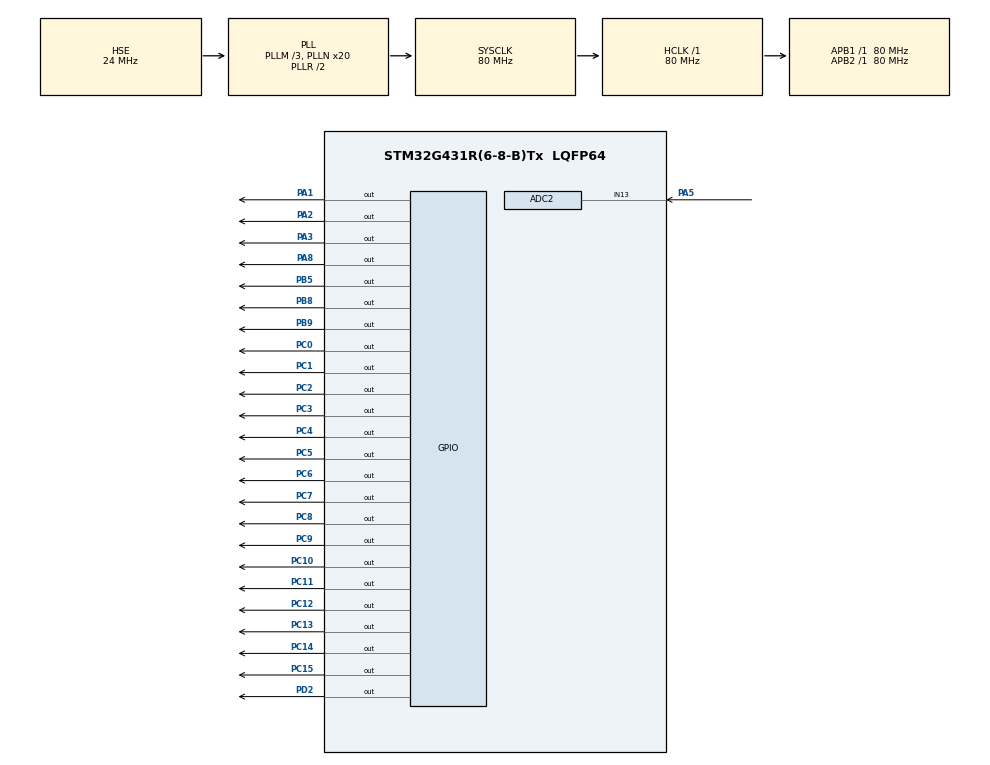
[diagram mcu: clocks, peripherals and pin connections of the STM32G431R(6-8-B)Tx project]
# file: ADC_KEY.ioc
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ADC2.Channel-0\#ChannelRegularConversion=ADC_CHANNEL_13
ADC2.ContinuousConvMode=ENABLE
ADC2.DMAContinuousRequests=ENABLE
ADC2.NbrOfConversionFlag=1
ADC2.OffsetNumber-0\#ChannelRegularConversion=ADC_OFFSET_NONE
ADC2.Rank-0\#ChannelRegularConversion=1
ADC2.SamplingTime-0\#ChannelRegularConversion=ADC_SAMPLETIME_92CYCLES_5
Dma.ADC2.0.Direction=DMA_PERIPH_TO_MEMORY
Dma.ADC2.0.EventEnable=DISABLE
Dma.ADC2.0.Instance=DMA1_Channel1
Dma.ADC2.0.MemDataAlignment=DMA_MDATAALIGN_HALFWORD
Dma.ADC2.0.MemInc=DMA_MINC_ENABLE
Dma.ADC2.0.Mode=DMA_CIRCULAR
Dma.ADC2.0.PeriphDataAlignment=DMA_PDATAALIGN_HALFWORD
Dma.ADC2.0.PeriphInc=DMA_PINC_DISABLE
Dma.ADC2.0.Polarity=HAL_DMAMUX_REQ_GEN_RISING
Dma.ADC2.0.Priority=DMA_PRIORITY_LOW
Dma.ADC2.0.RequestNumber=1
Dma.ADC2.0.SignalID=NONE
Dma.ADC2.0.SyncEnable=DISABLE
Dma.ADC2.0.SyncPolarity=HAL_DMAMUX_SYNC_NO_EVENT
Dma.ADC2.0.SyncRequestNumber=1
Dma.ADC2.0.SyncSignalID=NONE
Dma.Request0=ADC2
Mcu.Family=STM32G4
Mcu.Name=STM32G431R(6-8-B)Tx
Mcu.Package=LQFP64
NVIC.PriorityGroup=NVIC_PRIORITYGROUP_4
PA1.Signal=GPIO_Output
PA13.Mode=Serial_Wire
PA13.Signal=SYS_JTMS-SWDIO
PA14.Mode=Serial_Wire
PA14.Signal=SYS_JTCK-SWCLK
PA2.Signal=GPIO_Output
PA3.Signal=GPIO_Output
PA5.Mode=IN13-Single-Ended
PA5.Signal=ADC2_IN13
PA8.Signal=GPIO_Output
PB5.Signal=GPIO_Output
PB8-BOOT0.Signal=GPIO_Output
PB9.Signal=GPIO_Output
PC0.Signal=GPIO_Output
PC1.Signal=GPIO_Output
PC10.PinState=GPIO_PIN_SET
PC10.Signal=GPIO_Output
PC11.PinState=GPIO_PIN_SET
PC11.Signal=GPIO_Output
PC12.PinState=GPIO_PIN_SET
PC12.Signal=GPIO_Output
PC13.PinState=GPIO_PIN_SET
PC13.Signal=GPIO_Output
PC14-OSC32_IN.PinState=GPIO_PIN_SET
PC14-OSC32_IN.Signal=GPIO_Output
PC15-OSC32_OUT.PinState=GPIO_PIN_SET
PC15-OSC32_OUT.Signal=GPIO_Output
PC2.Signal=GPIO_Output
PC3.Signal=GPIO_Output
PC4.Signal=GPIO_Output
PC5.Signal=GPIO_Output
PC6.Signal=GPIO_Output
PC7.Signal=GPIO_Output
PC8.PinState=GPIO_PIN_SET
PC8.Signal=GPIO_Output
PC9.PinState=GPIO_PIN_SET
PC9.Signal=GPIO_Output
PD2.Signal=GPIO_Output
PF0-OSC_IN.Mode=HSE-External-Oscillator
PF0-OSC_IN.Signal=RCC_OSC_IN
PF1-OSC_OUT.Mode=HSE-External-Oscillator
PF1-OSC_OUT.Signal=RCC_OSC_OUT
ProjectManager.HeapSize=0x200
ProjectManager.StackSize=0x400
ProjectManager.TargetToolchain=MDK-ARM V5.32
RCC.ADC12Freq_Value=80000000
RCC.AHBFreq_Value=80000000
RCC.APB1Freq_Value=80000000
RCC.APB1TimFreq_Value=80000000
RCC.APB2Freq_Value=80000000
RCC.APB2TimFreq_Value=80000000
RCC.CortexFreq_Value=80000000
RCC.EXTERNAL_CLOCK_VALUE=12288000
RCC.HCLKFreq_Value=80000000
RCC.HSE_VALUE=24000000
RCC.HSI48_VALUE=48000000
RCC.HSI_VALUE=16000000
RCC.LSE_VALUE=32768
RCC.PLLM=RCC_PLLM_DIV3
RCC.PLLN=20
RCC.PLLSourceVirtual=RCC_PLLSOURCE_HSE
RCC.SYSCLKFreq_VALUE=80000000
RCC.SYSCLKSource=RCC_SYSCLKSOURCE_PLLCLK
RCC.USBFreq_Value=80000000
RCC.VCOOutputFreq_Value=160000000
VP_SYS_VS_DBSignals.Mode=DisableDeadBatterySignals
board=custom

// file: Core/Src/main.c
/* USER CODE BEGIN Header */
/**
  ******************************************************************************
  * @file           : main.c
  * @brief          : Main program body
  ******************************************************************************
  * @attention
  *
  * Copyright (c) 2024 STMicroelectronics.
  * All rights reserved.
  *
  * This software is licensed under terms that can be found in the LICENSE file
  * in the root directory of this software component.
  * If no LICENSE file comes with this software, it is provided AS-IS.
  *
  ******************************************************************************
  */
/* USER CODE END Header */
#include "main.h"
#include "adc.h"
#include "dma.h"
#include "gpio.h"

/* USER CODE BEGIN Includes */

#include "stdio.h"
#include "String.h"
#include "lcd.h"
#include "led.h"
#include "seg.h"
#include "myadc.h"
#include "AKey.h"

/* USER CODE END Includes */

/* USER CODE BEGIN PTD */

unsigned int adc_value;

unsigned char lcd_text[30];

__IO uint32_t uwTick_Lcd;
__IO uint32_t uwTick_Led;
__IO uint32_t uwTick_Seg;
__IO uint32_t uwTick_Adc;

unsigned char Seg_count;
unsigned char ucled=0x00;

unsigned char Akey_num;

/* USER CODE END PTD */

void SystemClock_Config(void);
/* USER CODE BEGIN PFP */

void lcd_proc(void);
void seg_proc(void);
void adc_proc(void);
void led_proc(void);

/* USER CODE END PFP */

int main(void)
{

  /* MCU Configuration--------------------------------------------------------*/

  /* Reset of all peripherals, Initializes the Flash interface and the Systick. */
  HAL_Init();

  /* Configure the system clock */
  SystemClock_Config();

  /* Initialize all configured peripherals */
  MX_GPIO_Init();
  MX_DMA_Init();
  MX_ADC2_Init();
  /* USER CODE BEGIN 2 */

    led_disp(0x00);

    LCD_Init();
    LCD_Clear(Black);
    LCD_SetBackColor(Black);
    LCD_SetTextColor(White);

    HAL_ADCEx_Calibration_Start(&hadc2,ADC_SINGLE_ENDED);//ADC校准
	HAL_ADC_Start_DMA(&hadc2,(uint32_t *)adc_value,1);//打开DMA

  /* USER CODE END 2 */

  /* Infinite loop */
  while (1)
  {

    /* USER CODE BEGIN 3 */
      adc_proc();
      Akey_num=akey_scan();
      led_proc();
      lcd_proc();
      seg_proc();
  }
  /* USER CODE END 3 */
}

void SystemClock_Config(void)
{
  RCC_OscInitTypeDef RCC_OscInitStruct = {0};
  RCC_ClkInitTypeDef RCC_ClkInitStruct = {0};

  /** Configure the main internal regulator output voltage
  */
  HAL_PWREx_ControlVoltageScaling(PWR_REGULATOR_VOLTAGE_SCALE1);

  /** Initializes the RCC Oscillators according to the specified parameters
  * in the RCC_OscInitTypeDef structure.
  */
  RCC_OscInitStruct.OscillatorType = RCC_OSCILLATORTYPE_HSE;
  RCC_OscInitStruct.HSEState = RCC_HSE_ON;
  RCC_OscInitStruct.PLL.PLLState = RCC_PLL_ON;
  RCC_OscInitStruct.PLL.PLLSource = RCC_PLLSOURCE_HSE;
  RCC_OscInitStruct.PLL.PLLM = RCC_PLLM_DIV3;
  RCC_OscInitStruct.PLL.PLLN = 20;
  RCC_OscInitStruct.PLL.PLLP = RCC_PLLP_DIV2;
  RCC_OscInitStruct.PLL.PLLQ = RCC_PLLQ_DIV2;
  RCC_OscInitStruct.PLL.PLLR = RCC_PLLR_DIV2;
  if (HAL_RCC_OscConfig(&RCC_OscInitStruct) != HAL_OK)
  {
    Error_Handler();
  }

  /** Initializes the CPU, AHB and APB buses clocks
  */
  RCC_ClkInitStruct.ClockType = RCC_CLOCKTYPE_HCLK|RCC_CLOCKTYPE_SYSCLK
                              |RCC_CLOCKTYPE_PCLK1|RCC_CLOCKTYPE_PCLK2;
  RCC_ClkInitStruct.SYSCLKSource = RCC_SYSCLKSOURCE_PLLCLK;
  RCC_ClkInitStruct.AHBCLKDivider = RCC_SYSCLK_DIV1;
  RCC_ClkInitStruct.APB1CLKDivider = RCC_HCLK_DIV1;
  RCC_ClkInitStruct.APB2CLKDivider = RCC_HCLK_DIV1;

  if (HAL_RCC_ClockConfig(&RCC_ClkInitStruct, FLASH_LATENCY_2) != HAL_OK)
  {
    Error_Handler();
  }
}

/* USER CODE BEGIN 4 */

void lcd_proc(void)
{
    if((uwTick-uwTick_Lcd)<100)return;
    uwTick_Lcd=uwTick;

    memset(lcd_text,0,sizeof(lcd_text));
    sprintf((char *)lcd_text,"      ADC:%d        ",adc_value);
    LCD_DisplayStringLine(Line3,lcd_text);

     memset(lcd_text,0,sizeof(lcd_text));
    sprintf((char *)lcd_text,"      Key:%d        ",Akey_num);
    LCD_DisplayStringLine(Line7,lcd_text);
}

void seg_proc(void)
{
    if((uwTick-uwTick_Seg)<500)return;
    uwTick_Seg=uwTick;

    seg_buf[1]=seg_code[Seg_count];

     Seg_count++;
   if(30==Seg_count)Seg_count=0;

    seg_disp();

}

void adc_proc(void)
{
    if((uwTick-uwTick_Adc)<50)return;
    uwTick_Adc=uwTick;

    adc_value=get_adcValue(&hadc2);
}

void led_proc(void)
{
    if((uwTick-uwTick_Led)<50)return;
    uwTick_Led=uwTick;
    //按下扩展板的K1按键时LED1亮
    if(1==Akey_num)
    {
        ucled |=0x01;

    }
    else
    {
        ucled &=0xfe;
    }
    led_disp(ucled);
}

/* USER CODE END 4 */

void Error_Handler(void)
{
  __disable_irq();
  while (1)
  {
  }
}
